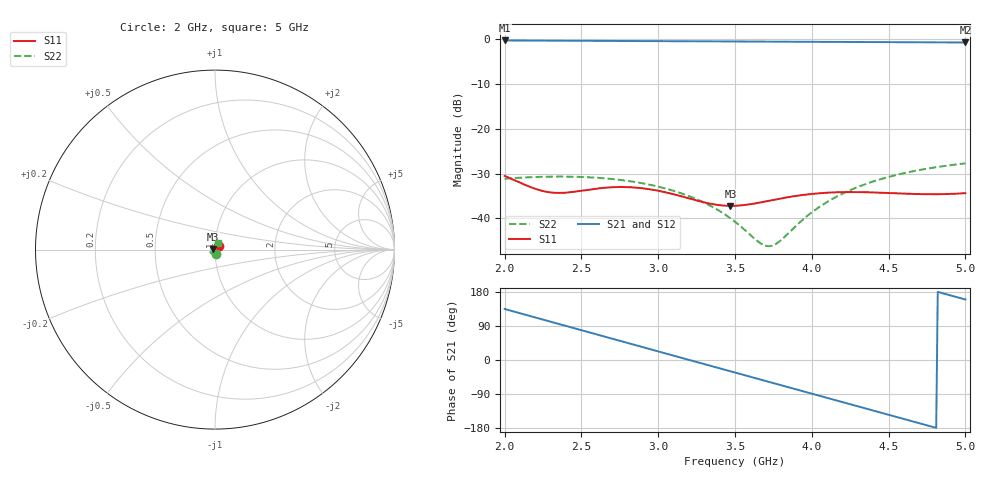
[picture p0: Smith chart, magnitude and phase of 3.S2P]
#  MHZ S MA R 50.0
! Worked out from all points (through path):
!   301 points, 2 GHz to 5 GHz, reference 50 ohm
!   highest |S21| = -0.32 dB at 2 GHz (marker M1); lowest = -0.8 dB at 5 GHz (marker M2)
!   group delay of S21, straight-line fit = 310 ps
!   lowest |S11| = -37.2 dB at 3.47 GHz (marker M3), VSWR 1.03, Z = 48.6 + j0.157 ohm
!   |S11| at or under -10 dB: start of sweep to end of sweep
!   |S22| runs from -46.2 to -27.7 dB; largest |S21 - S12| = 0
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2000  0.0298 42.6  0.9643 134.6  0.9643 134.6  0.02766 -80.7
2130  0.02379 21.5  0.962 120.0  0.962 120.0  0.02861 -96.9
2260  0.01999 -6.1  0.9598 105.5  0.9598 105.5  0.02912 -113.1
2380  0.01927 -33.4  0.9577 92.0  0.9577 92.0  0.02924 -128.5
2500  0.02034 -56.4  0.9557 78.6  0.9557 78.6  0.02897 -144.2
2730  0.02235 -87.1  0.9518 52.8  0.9518 52.8  0.02716 -175.9
2870  0.02192 -101.6  0.9495 37.2  0.9495 37.2  0.02512 163.8
3000  0.02033 -115.1  0.9473 22.7  0.9473 22.7  0.0226 144.3
3230  0.01618 -144.3  0.9434 -3.0  0.9434 -3.0  0.01693 107.6
3470  0.0138 173.3  0.9392 -29.8  0.9392 -29.8  0.01004 61.7
3500  0.01383 167.7  0.9387 -33.1  0.9387 -33.1  0.009177 54.5
3660  0.015 141.1  0.9359 -50.9  0.9359 -50.9  0.005367 -1.6
3730  0.01582 131.7  0.9347 -58.7  0.9347 -58.7  0.004914 -39.7
3790  0.01657 124.7  0.9336 -65.4  0.9336 -65.4  0.005544 -71.8
4000  0.01874 105.8  0.93 -88.8  0.93 -88.8  0.01168 -139.0
4120  0.01942 97.7  0.9279 -102.2  0.9279 -102.2  0.01598 -163.1
4240  0.01966 90.6  0.9259 -115.6  0.9259 -115.6  0.0203 175.7
4500  0.01918 77.6  0.9218 -144.5  0.9218 -144.5  0.02901 134.2
4630  0.01881 71.9  0.9198 -159.0  0.9198 -159.0  0.03278 114.7
4750  0.01861 67.0  0.9182 -172.4  0.9182 -172.4  0.03585 97.2
4870  0.01867 62.4  0.9167 174.2  0.9167 174.2  0.03855 80.0
5000  0.01912 57.9  0.9152 159.7  0.9152 159.7  0.04109 61.8
